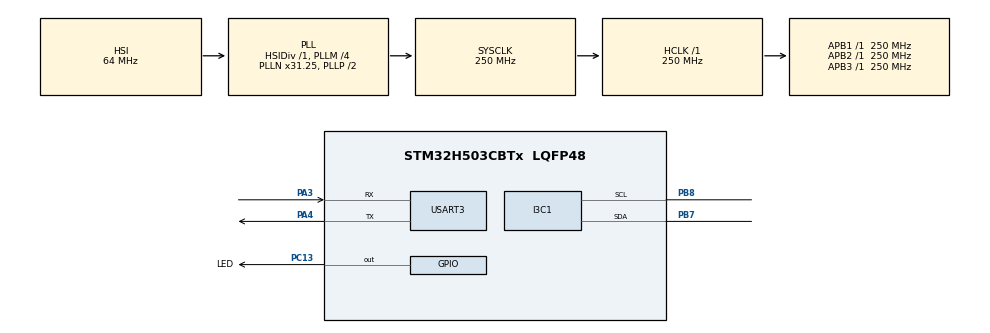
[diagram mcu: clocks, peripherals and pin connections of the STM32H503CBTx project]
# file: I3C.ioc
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BOOTPATH.BootPathName=LEGACY
BOOTPATH.UserSelectedBootPath=LEGACY
I3C1.BusFreeDuration=402
I3C1.Register0=0x00774f77
I3C1.Register1=0x103200f8
I3C1.SCLI3CHighDuration=0x4f
I3C1.SCLODLowDuration=0x77
I3C1.SCLPPLowDuration=0x77
I3C1.SCL_OD_Freq=1250
I3C1.SCL_PP_Freq=1250
I3C1.SDAHoldTime=HAL_I3C_SDA_HOLD_TIME_1_5
I3C1.hexBusFreeDuration=0x32
I3C1.hexBusIdleDuration=0xf8
Mcu.Family=STM32H5
Mcu.Name=STM32H503CBTx
Mcu.Package=LQFP48
NVIC.I3C1_ER_IRQn=true\:0\:0\:false\:false\:true\:true\:true\:true
NVIC.I3C1_EV_IRQn=true\:0\:0\:false\:false\:true\:true\:true\:true
NVIC.PriorityGroup=NVIC_PRIORITYGROUP_4
NVIC.USART3_IRQn=true\:0\:0\:false\:false\:true\:true\:true\:true
PA3.Mode=Asynchronous
PA3.Signal=USART3_RX
PA4.Mode=Asynchronous
PA4.Signal=USART3_TX
PB7.Mode=Controller
PB7.Signal=I3C1_SDA
PB8.Mode=Controller
PB8.Signal=I3C1_SCL
PC13.GPIO_Label=LED
PC13.Signal=GPIO_Output
ProjectManager.HeapSize=0x200
ProjectManager.StackSize=0x400
ProjectManager.TargetToolchain=STM32CubeIDE
RCC.ADCFreq_Value=250000000
RCC.AHBFreq_Value=250000000
RCC.APB1Freq_Value=250000000
RCC.APB1TimFreq_Value=250000000
RCC.APB2Freq_Value=250000000
RCC.APB2TimFreq_Value=250000000
RCC.APB3Freq_Value=250000000
RCC.CSI_VALUE=4000000
RCC.CortexFreq_Value=250000000
RCC.EPOD_VALUE=64000000
RCC.HCLKFreq_Value=250000000
RCC.HSE_VALUE=25000000
RCC.HSI48_VALUE=48000000
RCC.HSIDiv=RCC_HSI_DIV1
RCC.HSI_VALUE=64000000
RCC.LSE_VALUE=32768
RCC.LSIRC_VALUE=32000
RCC.PLL2FRACN=0
RCC.PLLFRACN=2048
RCC.PLLM=4
RCC.PLLN=31
RCC.PLLSourceVirtual=RCC_PLL1_SOURCE_HSI
RCC.SYSCLKFreq_VALUE=250000000
RCC.SYSCLKSource=RCC_SYSCLKSOURCE_PLLCLK
RCC.USBFreq_Value=48000000
RCC.VCOOutputFreq_Value=500000000
USART3.SwapParam=ADVFEATURE_SWAP_ENABLE
USART3.VirtualMode-Asynchronous=VM_ASYNC
VP_BOOTPATH_VS_BOOTPATH.Mode=BP_Activate
VP_CORTEX_M33_NS_VS_Hclk.Mode=Hclk_Mode
VP_ICACHE_VS_ICACHE.Mode=DirectMappedCache
VP_MEMORYMAP_VS_MEMORYMAP.Mode=CurAppReg
VP_PWR_VS_DBSignals.Mode=DisableDeadBatterySignals
VP_PWR_VS_LPOM.Mode=PowerOptimisation
VP_PWR_VS_SECSignals.Mode=Security/Privilege
board=custom

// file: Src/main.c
/* USER CODE BEGIN Header */
/**
  ******************************************************************************
  * @file           : main.c
  * @brief          : Main program body
  ******************************************************************************
  * @attention
  *
  * Copyright (c) 2025 STMicroelectronics.
  * All rights reserved.
  *
  * This software is licensed under terms that can be found in the LICENSE file
  * in the root directory of this software component.
  * If no LICENSE file comes with this software, it is provided AS-IS.
  *
  ******************************************************************************
  */
/* USER CODE END Header */
#include "main.h"
#include "i3c.h"
#include "icache.h"
#include "memorymap.h"
#include "usart.h"
#include "gpio.h"

/* USER CODE BEGIN Includes */
#include <stdio.h>
/* USER CODE END Includes */

/* USER CODE BEGIN PV */
#define Direct_READ             0x09
#define TEMPERATURE_REGISTER    0x00
#define MAX_DEVICES             10

__IO uint32_t uwTargetCount = 0;
uint32_t ubTargetIndex;
volatile uint8_t DAACplt = 0;

TargetDesc_t TargetDesc1 ={ "TARGET_ID1",  DEVICE_ID1,  0x0000000000000000, 0x00, TARGET1_DYN_ADDR, };
TargetDesc_t TargetDesc2 ={ "TARGET_ID2",  DEVICE_ID2,  0x0000000000000000, 0x00, TARGET2_DYN_ADDR, };
TargetDesc_t TargetDesc3 ={ "TARGET_ID3",  DEVICE_ID3,  0x0000000000000000, 0x00, TARGET3_DYN_ADDR, };
TargetDesc_t TargetDesc4 ={ "TARGET_ID4",  DEVICE_ID4,  0x0000000000000000, 0x00, TARGET4_DYN_ADDR, };
TargetDesc_t TargetDesc5 ={ "TARGET_ID5",  DEVICE_ID5,  0x0000000000000000, 0x00, TARGET5_DYN_ADDR, };
TargetDesc_t TargetDesc6 ={ "TARGET_ID6",  DEVICE_ID6,  0x0000000000000000, 0x00, TARGET6_DYN_ADDR, };
TargetDesc_t TargetDesc7 ={ "TARGET_ID7",  DEVICE_ID7,  0x0000000000000000, 0x00, TARGET7_DYN_ADDR, };
TargetDesc_t TargetDesc8 ={ "TARGET_ID8",  DEVICE_ID8,  0x0000000000000000, 0x00, TARGET8_DYN_ADDR, };
TargetDesc_t TargetDesc9 ={ "TARGET_ID9",  DEVICE_ID9,  0x0000000000000000, 0x00, TARGET9_DYN_ADDR, };
TargetDesc_t TargetDesc10={ "TARGET_ID10", DEVICE_ID10, 0x0000000000000000, 0x00, TARGET10_DYN_ADDR, };

TargetDesc_t *aTargetDesc[MAX_DEVICES] = {
    &TargetDesc1, &TargetDesc2, &TargetDesc3, &TargetDesc4, &TargetDesc5,
    &TargetDesc6, &TargetDesc7, &TargetDesc8, &TargetDesc9, &TargetDesc10
};

I3C_DeviceConfTypeDef DeviceConf[COUNTOF(aTargetDesc)] = {0};

uint8_t aRxBuffer[MAX_DEVICES][2];
uint8_t aTxBuffer[1];
uint32_t aControlBuffer[0xFF];
I3C_XferTypeDef buffer;

float temperature[MAX_DEVICES];
volatile uint8_t RxCplt = 0;

/* USER CODE END PV */

void SystemClock_Config(void);

/* USER CODE BEGIN 0 */

int _write(int file, char *ptr, int len) {
  HAL_UART_Transmit(&huart3,(uint8_t*)ptr,len,100);
  return len;
}

void ReadTemperatures(void) {
  for (uint32_t i = 0; i < uwTargetCount; i++) {
  //for (uint32_t i = 0; i < 1; i++) {

    aTxBuffer[0] = TEMPERATURE_REGISTER;

    buffer.CtrlBuf.pBuffer = aControlBuffer;
    buffer.CtrlBuf.Size    = sizeof(aControlBuffer);
    buffer.RxBuf.pBuffer   = aRxBuffer[i];
    buffer.RxBuf.Size      = 2;
    buffer.TxBuf.pBuffer   = aTxBuffer;
    buffer.TxBuf.Size      = 1;

    I3C_CCCTypeDef aCCCList[] = {
        {DeviceConf[i].TargetDynamicAddr,
         Direct_READ,               // CCC príkaz: Čítanie
         {aTxBuffer, 2},            // Adresa registra teploty
         LL_I3C_DIRECTION_READ},    // Smer prenosu: Čítanie
    };

    if (HAL_I3C_AddDescToFrame(&hi3c1,
        aCCCList,
        NULL,
        &buffer,
        COUNTOF(aCCCList),
        I3C_DIRECT_WITHOUT_DEFBYTE_RESTART) != HAL_OK)
    {
        Error_Handler();
    }

    if (HAL_I3C_Ctrl_ReceiveCCC_IT(&hi3c1, &buffer) != HAL_OK) {
        Error_Handler();
    }

    // TODO add TMO
    while(!RxCplt);
    RxCplt = 0;
  }
}

/* USER CODE END 0 */

int main(void)
{

  /* MCU Configuration--------------------------------------------------------*/

  /* Reset of all peripherals, Initializes the Flash interface and the Systick. */
  HAL_Init();

  /* Configure the system clock */
  SystemClock_Config();

  /* Initialize all configured peripherals */
  MX_GPIO_Init();
  MX_USART3_UART_Init();
  MX_I3C1_Init();
  MX_ICACHE_Init();
  /* USER CODE BEGIN 2 */

  printf("I3C test\r\n");

  // Dynamic Address Assignation (DAA) start
  if (HAL_I3C_Ctrl_DynAddrAssign_IT(&hi3c1, I3C_RSTDAA_THEN_ENTDAA) != HAL_OK) {
    Error_Handler();
  }
  while (HAL_I3C_GetState(&hi3c1) != HAL_I3C_STATE_READY) { }

  for(ubTargetIndex = 0; ubTargetIndex < uwTargetCount; ubTargetIndex++) {
    DeviceConf[ubTargetIndex].DeviceIndex        = (ubTargetIndex+1);
    DeviceConf[ubTargetIndex].TargetDynamicAddr  = aTargetDesc[ubTargetIndex]->DYNAMIC_ADDR;
    DeviceConf[ubTargetIndex].IBIAck             = __HAL_I3C_GET_IBI_CAPABLE(__HAL_I3C_GET_BCR(aTargetDesc[ubTargetIndex]->TARGET_BCR_DCR_PID));
    DeviceConf[ubTargetIndex].IBIPayload         = __HAL_I3C_GET_IBI_PAYLOAD(__HAL_I3C_GET_BCR(aTargetDesc[ubTargetIndex]->TARGET_BCR_DCR_PID));
    DeviceConf[ubTargetIndex].CtrlRoleReqAck     = __HAL_I3C_GET_CR_CAPABLE(__HAL_I3C_GET_BCR(aTargetDesc[ubTargetIndex]->TARGET_BCR_DCR_PID));
    DeviceConf[ubTargetIndex].CtrlStopTransfer   = DISABLE;

    if (HAL_I3C_Ctrl_ConfigBusDevices(&hi3c1, &DeviceConf[ubTargetIndex], 1U) != HAL_OK)
      Error_Handler();
  }

  while(!DAACplt);
  printf("DAA done, found %ld devices\r\n", uwTargetCount);

  /* USER CODE END 2 */

  /* Infinite loop */
  /* USER CODE BEGIN WHILE */
  uint32_t tick = HAL_GetTick();
  while (1)
  {
    if( (HAL_GetTick() - tick) > 250) {
      tick = HAL_GetTick();
      HAL_GPIO_TogglePin(LED_GPIO_Port, LED_Pin);

      ReadTemperatures();
      printf("Senzor: ");
      for (uint32_t i = 0; i < uwTargetCount; i++) {
        printf("T[%lu]=%.2f C, ", i + 1, temperature[i]);
      }
      printf("\r\n");
    }
    /* USER CODE END WHILE */

  }
}

void SystemClock_Config(void)
{
  RCC_OscInitTypeDef RCC_OscInitStruct = {0};
  RCC_ClkInitTypeDef RCC_ClkInitStruct = {0};

  /** Configure the main internal regulator output voltage
  */
  __HAL_PWR_VOLTAGESCALING_CONFIG(PWR_REGULATOR_VOLTAGE_SCALE0);

  while(!__HAL_PWR_GET_FLAG(PWR_FLAG_VOSRDY)) {}

  /** Initializes the RCC Oscillators according to the specified parameters
  * in the RCC_OscInitTypeDef structure.
  */
  RCC_OscInitStruct.OscillatorType = RCC_OSCILLATORTYPE_HSI;
  RCC_OscInitStruct.HSIState = RCC_HSI_ON;
  RCC_OscInitStruct.HSIDiv = RCC_HSI_DIV1;
  RCC_OscInitStruct.HSICalibrationValue = RCC_HSICALIBRATION_DEFAULT;
  RCC_OscInitStruct.PLL.PLLState = RCC_PLL_ON;
  RCC_OscInitStruct.PLL.PLLSource = RCC_PLL1_SOURCE_HSI;
  RCC_OscInitStruct.PLL.PLLM = 4;
  RCC_OscInitStruct.PLL.PLLN = 31;
  RCC_OscInitStruct.PLL.PLLP = 2;
  RCC_OscInitStruct.PLL.PLLQ = 2;
  RCC_OscInitStruct.PLL.PLLR = 2;
  RCC_OscInitStruct.PLL.PLLRGE = RCC_PLL1_VCIRANGE_3;
  RCC_OscInitStruct.PLL.PLLVCOSEL = RCC_PLL1_VCORANGE_WIDE;
  RCC_OscInitStruct.PLL.PLLFRACN = 2048;
  if (HAL_RCC_OscConfig(&RCC_OscInitStruct) != HAL_OK)
  {
    Error_Handler();
  }

  /** Initializes the CPU, AHB and APB buses clocks
  */
  RCC_ClkInitStruct.ClockType = RCC_CLOCKTYPE_HCLK|RCC_CLOCKTYPE_SYSCLK
                              |RCC_CLOCKTYPE_PCLK1|RCC_CLOCKTYPE_PCLK2
                              |RCC_CLOCKTYPE_PCLK3;
  RCC_ClkInitStruct.SYSCLKSource = RCC_SYSCLKSOURCE_PLLCLK;
  RCC_ClkInitStruct.AHBCLKDivider = RCC_SYSCLK_DIV1;
  RCC_ClkInitStruct.APB1CLKDivider = RCC_HCLK_DIV1;
  RCC_ClkInitStruct.APB2CLKDivider = RCC_HCLK_DIV1;
  RCC_ClkInitStruct.APB3CLKDivider = RCC_HCLK_DIV1;

  if (HAL_RCC_ClockConfig(&RCC_ClkInitStruct, FLASH_LATENCY_5) != HAL_OK)
  {
    Error_Handler();
  }

  /** Configure the programming delay
  */
  __HAL_FLASH_SET_PROGRAM_DELAY(FLASH_PROGRAMMING_DELAY_2);
}

/* USER CODE BEGIN 4 */

void HAL_I3C_TgtReqDynamicAddrCallback(I3C_HandleTypeDef *hi3c, uint64_t targetPayload) {
  aTargetDesc[uwTargetCount]->TARGET_BCR_DCR_PID = targetPayload;
  HAL_I3C_Ctrl_SetDynAddr(hi3c, aTargetDesc[uwTargetCount++]->DYNAMIC_ADDR);
}

void HAL_I3C_CtrlDAACpltCallback(I3C_HandleTypeDef *hi3c) {
  DAACplt = 1;
}

void HAL_I3C_NotifyCallback(I3C_HandleTypeDef *hi3c, uint32_t eventId) {
  //
}

void HAL_I3C_CtrlRxCpltCallback(I3C_HandleTypeDef *hi3c) {
  if (hi3c->Instance == I3C1) {
    for (uint32_t i = 0; i < uwTargetCount; i++) {
    //for (uint32_t i = 0; i < 1; i++) {
      uint16_t raw_temperature = (aRxBuffer[i][0] << 8) | aRxBuffer[i][1];
      temperature[i] =  ((float)(raw_temperature>>4))*0.0625f;
    }
    RxCplt = 1;
  }
}
/* USER CODE END 4 */

void Error_Handler(void)
{
  __disable_irq();
  while (1)
  {
  }
}
